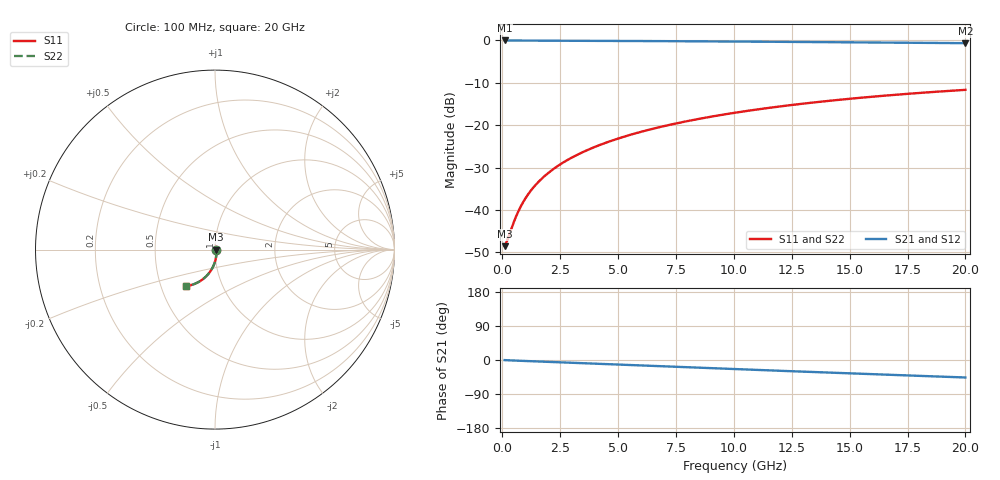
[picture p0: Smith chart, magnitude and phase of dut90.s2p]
! Touchstone file exported from HFSS 2026.1.0
!  File:  C:/ffzhzh/LocalFiles/Ansys_Project_Files/temp_train_TMRDL_90_1782881508_8056.aedt
!  Generated:  12:53:16 PM Jul  1, 2026
!  Design:  TMRDL
!  Project:  temp_train_TMRDL_90_1782881508_8056
! Variables:
!  h_bsmrdl = 2um
!  h_ox = 20um
!  h_rdl = 5um
!  h_sub = 80um
!  h_tmrdl = 2.99um
!  h_tsv = 80um
!  h_via = 3um
!  l_bsmrdl = 300um
!  l_sub = 1156.05um
!  l_tmrdl = 756.05um
!  m_sub = 200um
!  pitch = 28.39um
!  r_tsv = 6um
!  s_tmrdl = 10um
!  w_bsmrdl = 18um
!  w_sub = 500um
!  w_tmrdl = 27.03um
!  x_tsv_center1 = 769.565um
!  x_tsv_center2 = 1087.565um
!  x_tsv_center3 = 1870.645um
!  x_tsv_center4 = 2188.645um
!  x_tsv_center5 = 2971.725um
!  x_tsv_center6 = 3289.725um
# GHz S MA R 50.000000
! Terminal data exported
! Port[1] = TM_RDL1_1_T1
! Port[2] = TM_RDL1_1_T2
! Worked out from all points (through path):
!   200 points, 100 MHz to 20 GHz, reference 50 ohm
!   highest |S21| = -0.03 dB at 100 MHz (marker M1); lowest = -0.7 dB at 20 GHz (marker M2)
!   group delay of S21, straight-line fit = 6.39 ps
!   lowest |S11| = -48.5 dB at 100 MHz (marker M3), VSWR 1.01, Z = 50.4 - j0.0334 ohm
!   |S11| at or under -10 dB: start of sweep to end of sweep
!   |S22| runs from -48.5 to -11.7 dB; largest |S21 - S12| = 3.5e-15
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0.1  0.003737 -5.1  0.9963 -0.3  0.9963 -0.3  0.003737 -5.1
! Gamma 0 0 0 0
! Port Impedance 50 0 50 0
0.2  0.004272 -11.1  0.9958 -0.6  0.9958 -0.6  0.004272 -11.1
0.5  0.007214 -31.4  0.9937 -1.4  0.9937 -1.4  0.007214 -31.4
0.7  0.009709 -42.4  0.9926 -1.9  0.9926 -1.9  0.009708 -42.4
0.8  0.01102 -46.9  0.9921 -2.1  0.9921 -2.1  0.01102 -46.9
1  0.0137 -54.2  0.9914 -2.6  0.9914 -2.6  0.0137 -54.2
1.3  0.0178 -62.1  0.9906 -3.3  0.9906 -3.3  0.0178 -62.1
1.5  0.02056 -66.0  0.9902 -3.8  0.9902 -3.8  0.02056 -66.0
1.7  0.02332 -69.2  0.9899 -4.3  0.9899 -4.3  0.02332 -69.2
2.2  0.03025 -75.1  0.989 -5.5  0.989 -5.5  0.03025 -75.1
2.8  0.03859 -80.0  0.9881 -6.9  0.9881 -6.9  0.03859 -80.0
3.5  0.04836 -84.2  0.9868 -8.6  0.9868 -8.6  0.04836 -84.2
4.2  0.05817 -87.4  0.9853 -10.3  0.9853 -10.3  0.05817 -87.4
5  0.06942 -90.5  0.9835 -12.2  0.9835 -12.2  0.06941 -90.5
5.9  0.0821 -93.5  0.9811 -14.3  0.9811 -14.3  0.0821 -93.6
6.8  0.09478 -96.3  0.9785 -16.4  0.9785 -16.4  0.09477 -96.3
8.4  0.1172 -100.8  0.9734 -20.2  0.9734 -20.2  0.1172 -100.8
10.1  0.1407 -105.2  0.9674 -24.1  0.9674 -24.1  0.1407 -105.3
11.7  0.1623 -109.3  0.9612 -27.8  0.9612 -27.8  0.1622 -109.3
13.4  0.1844 -113.4  0.9543 -31.7  0.9543 -31.7  0.1844 -113.5
16.7  0.2247 -121.2  0.9401 -39.0  0.9401 -39.0  0.2247 -121.3
20  0.2606 -128.6  0.9254 -46.2  0.9254 -46.2  0.2605 -128.7
